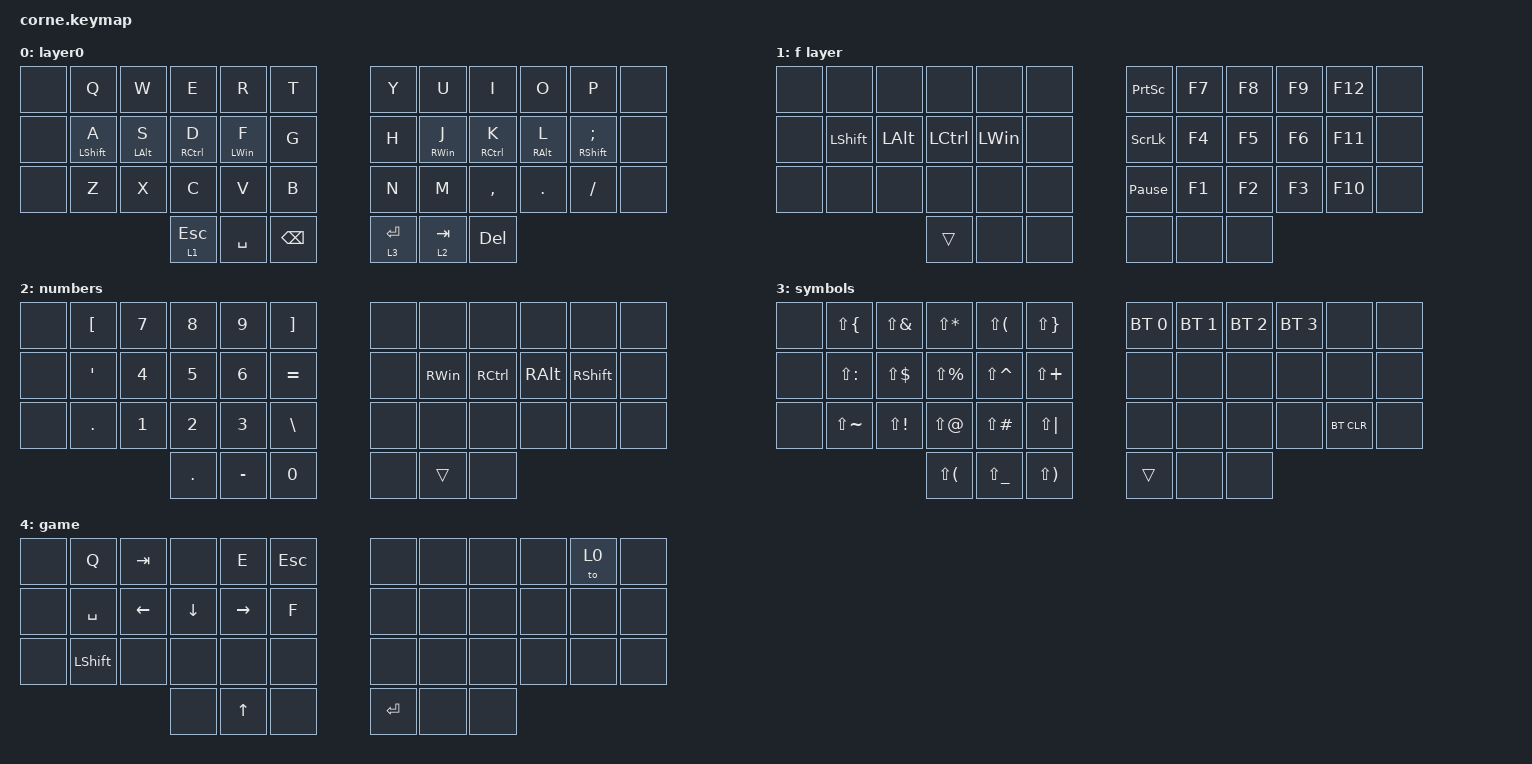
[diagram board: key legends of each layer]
/*
  * Copyright (c) 2020 The ZMK Contributors
  *
  * SPDX-License-Identifier: MIT
  */

#include <behaviors.dtsi>
#include <dt-bindings/zmk/bt.h>
#include <dt-bindings/zmk/keys.h>

/ {
    behaviors {
        // Custom mod-tap behavior with longer tapping term and quick tap

        quick_mod_tap: quick_mod_tap {
            compatible = "zmk,behavior-hold-tap";
            #binding-cells = <2>;
            flavor = "tap-preferred";
            tapping-term-ms = <300>;
            quick-tap-ms = <200>; // Allows quick interruption
            bindings = <&kp>, <&kp>;
        };

        // Custom double tap behavior for soft off

        soft_off_tap: soft_off_tap {
            compatible = "zmk,behavior-tap-dance";
            #binding-cells = <0>;
            tapping-term-ms = <300>;
            bindings = <&none>, <&soft_off>;
        };
    };

    combos {
        compatible = "zmk,combos";

        // Game layer activation

        gameactivation {
            bindings = <&to 4>;
            key-positions = <25 10>;
        };

        // Soft off combo - press Q and P simultaneously

        soft_off_combo {
            bindings = <&soft_off_tap>;
            key-positions = <10 21>; // Q and P keys
        };
    };

    // Soft off configuration

    soft_off {
        compatible = "zmk,soft-off";
        label = "SOFT_OFF";
    };

    keymap {
        compatible = "zmk,keymap";

        layer0 {
            bindings = <
&none  &kp Q                        &kp W                      &kp E                   &kp R                      &kp T            &kp Y        &kp U                  &kp I                   &kp O                       &kp P                                 &none
&none  &quick_mod_tap LEFT_SHIFT A  &quick_mod_tap LEFT_ALT S  &quick_mod_tap RCTRL D  &quick_mod_tap LEFT_WIN F  &kp G            &kp H        &quick_mod_tap RWIN J  &quick_mod_tap RCTRL K  &quick_mod_tap RIGHT_ALT L  &quick_mod_tap RIGHT_SHIFT SEMICOLON  &none
&none  &kp Z                        &kp X                      &kp C                   &kp V                      &kp B            &kp N        &kp M                  &kp COMMA               &kp DOT                     &kp SLASH                             &none
                                                               &lt 1 ESCAPE            &kp SPACE                  &kp BACKSPACE    &lt 3 ENTER  &lt 2 TAB              &kp DELETE
            >;
        };

        layer_1 {
            bindings = <
&none  &none           &none         &none             &none         &none    &kp PRINTSCREEN  &kp F7  &kp F8  &kp F9  &kp F12  &none
&none  &kp LEFT_SHIFT  &kp LEFT_ALT  &kp LEFT_CONTROL  &kp LEFT_WIN  &none    &kp SCROLLLOCK   &kp F4  &kp F5  &kp F6  &kp F11  &none
&none  &none           &none         &none             &none         &none    &kp PAUSE_BREAK  &kp F1  &kp F2  &kp F3  &kp F10  &none
                                     &trans            &none         &none    &none            &none   &none
            >;

            label = "f layer";
        };

        layer_2 {
            bindings = <
&none  &kp LEFT_BRACKET  &kp N7  &kp N8   &kp N9     &kp RBKT     &none  &none          &none      &none          &none            &none
&none  &kp SQT           &kp N4  &kp N5   &kp N6     &kp EQUAL    &none  &kp RIGHT_WIN  &kp RCTRL  &kp RIGHT_ALT  &kp RIGHT_SHIFT  &none
&none  &kp DOT           &kp N1  &kp N2   &kp N3     &kp BSLH     &none  &none          &none      &none          &none            &none
                                 &kp DOT  &kp MINUS  &kp N0       &none  &trans         &none
            >;

            label = "numbers";
        };

        layer_3 {
            bindings = <
&none  &kp LS(LBRC)   &kp LS(AMPS)  &kp LS(STAR)   &kp LS(LPAR)   &kp LS(RBRC)    &bt BT_SEL 0  &bt BT_SEL 1  &bt BT_SEL 2  &bt BT_SEL 3  &none       &none
&none  &kp LS(COLON)  &kp LS(DLLR)  &kp LS(PRCNT)  &kp LS(CARET)  &kp LS(PLUS)    &none         &none         &none         &none         &none       &none
&none  &kp LS(TILDE)  &kp LS(EXCL)  &kp LS(AT)     &kp LS(POUND)  &kp LS(PIPE)    &none         &none         &none         &none         &bt BT_CLR  &none
                                    &kp LS(LPAR)   &kp LS(UNDER)  &kp LS(RPAR)    &trans        &none         &none
            >;

            label = "symbols";
        };

        layer_4 {
            bindings = <
&none  &kp Q           &kp TAB         &none     &kp E      &kp ESC    &none    &none  &none  &none  &to 0  &none
&none  &kp SPACE       &kp LEFT_ARROW  &kp DOWN  &kp RIGHT  &kp F      &none    &none  &none  &none  &none  &none
&none  &kp LEFT_SHIFT  &none           &none     &none      &none      &none    &none  &none  &none  &none  &none
                                       &none     &kp UP     &none      &kp RET  &none  &none
            >;

            label = "game";
        };
    };
};
